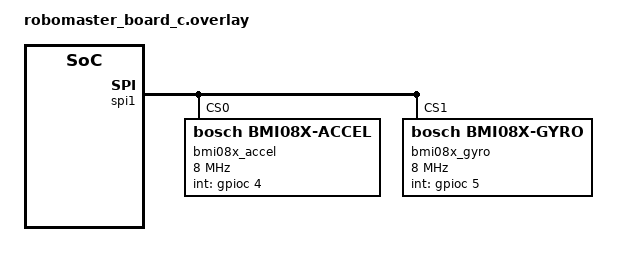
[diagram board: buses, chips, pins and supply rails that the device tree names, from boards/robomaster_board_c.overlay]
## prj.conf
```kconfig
# 启用线程分析器
CONFIG_THREAD_ANALYZER=y
CONFIG_THREAD_ANALYZER_USE_LOG=y
CONFIG_THREAD_ANALYZER_USE_PRINTK=n
CONFIG_THREAD_NAME=y
# CONFIG_THREAD_ANALYZER_AUTO=y
# CONFIG_THREAD_ANALYZER_AUTO_INTERVAL=5
CONFIG_THREAD_ANALYZER_LOG_LEVEL_INF=y
CONFIG_THREAD_ANALYZER_AUTO_SEPARATE_CORES=n

# 启用 Shell 支持
CONFIG_SHELL=n
CONFIG_SHELL_BACKENDS=n
CONFIG_SHELL_BACKEND_SERIAL=n

# 启用 UART 控制台
CONFIG_UART_CONSOLE=y

# 禁用 SEGGER RTT
CONFIG_USE_SEGGER_RTT=n

# 启用事件支持
CONFIG_EVENTS=y

# 启用控制台支持
CONFIG_CONSOLE=y

# 启用日志系统
CONFIG_LOG=y
CONFIG_LOG_MODE_IMMEDIATE=y
CONFIG_LOG_PRINTK=y
CONFIG_LOG_BACKEND_UART=y
CONFIG_LOG_MODE_IMMEDIATE=y

# 启用串行支持
CONFIG_SERIAL=y

# 禁用优化
CONFIG_NO_OPTIMIZATIONS=y

# 启用驱动
CONFIG_MOTOR_DJI=y
CONFIG_MOTOR_LOG_LEVEL=4
CONFIG_CAN=y
CONFIG_MOTOR_INIT_PRIORITY=90

CONFIG_ARES_SBUS=y

# use ASYNC uart API
CONFIG_SERIAL=y
CONFIG_UART_ASYNC_API=y
CONFIG_UART_INTERRUPT_DRIVEN=y

CONFIG_DMA=y
CONFIG_DMA_STM32=y  # STM32 DMA 驱动
CONFIG_UART_STM32=y # STM32 UART 驱动
# CONFIG_STM32_UART_DMA=y

# CONFIG_HAS_STM32CUBE=y
# CONFIG_USE_STM32_HAL_DMA=y
CONFIG_SPI=y
CONFIG_SPI_STM32=y

#
# Device Drivers
#
CONFIG_SENSOR=y
CONFIG_ADXL345_TRIGGER_NONE=y
CONFIG_BMI08X=y
CONFIG_BMI08X_ACCEL_TRIGGER_NONE=y
CONFIG_BMI08X_GYRO_TRIGGER_NONE=y
# CONFIG_BMI08X_GYRO_TRIGGER_GLOBAL_THREAD is not set
# CONFIG_BMI08X_GYRO_TRIGGER_OWN_THREAD is not set
CONFIG_BMI08X_I2C_WRITE_BURST_SIZE=16
```

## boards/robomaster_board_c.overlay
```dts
/ {
	rm_motor {
		motor0: motor0{
			compatible = "dji,motor";
            is_m2006;
			id = <1>;
            rx_id = <0x201>;
            tx_id = <0x200>;
			gear_ratio = <3600>;
			status = "okay";
			can_channel = <&canbus1>;
			controllers = <&angle_pid_1 &speed_pid_1>;
			capabilities = "angle", "speed";
		};

		motor1: motor1{
			compatible = "dji,motor";
            is_m2006;
			id = <2>;
            rx_id = <0x202>;
            tx_id = <0x200>;
			gear_ratio = <3600>;
			status = "okay";
			can_channel = <&canbus1>;
			controllers = <&angle_pid_2 &speed_pid_2>;
			capabilities = "angle", "speed";
		};
	};

	pid {
		angle_pid_1: angle_pid_1 {
			#controller-cells = <0>;
			compatible = "pid,single";
			k_p = <700>;
			k_i = <3>;
			k_d = <800>;
		};
		speed_pid_1: speed_pid_1 {
			#controller-cells = <0>;
			compatible = "pid,single";
			k_p = <180>;
			k_i = <20>;
			k_d = <20>;
		};
		angle_pid_2: angle_pid_2 {
			#controller-cells = <0>;
			compatible = "pid,single";
			k_p = <100>;
			k_i = <100>;
			k_d = <100>;
		};
		speed_pid_2: speed_pid_2 {
			#controller-cells = <0>;
			compatible = "pid,single";
			k_p = <180>;
			k_i = <20>;
			k_d = <20>;
		};
		torque_pid_2: torque_pid_2 {
			#controller-cells = <0>;
			compatible = "pid,mit";
			k_p = <1>;
			k_i = <0>;
			k_d = <0>;
		};
	};
	sbus0: sbus0 {
		compatible = "ares,sbus";
		status = "okay";
	};
};

&spi1 {
    status = "okay";

    bmi08x_accel: bmi08x_accel@0 {
        compatible = "bosch,bmi08x-accel";
		status = "okay";
        reg = <0>;
        spi-max-frequency = <8000000>;
        int-gpios = <&gpioc 4 GPIO_ACTIVE_HIGH>;
        accel-hz = "1600";
        accel-fs = <12>;
		int1-map-io = <0>;
		int2-map-io = <0>;
        int1-conf-io = <0>;
		int2-conf-io = <0>;
		// 其他所需属性...
    };

    bmi08x_gyro: bmi08x_gyro@1{
        compatible = "bosch,bmi08x-gyro";
		status = "okay";
        reg = <1>;
        spi-max-frequency = <8000000>;
        int-gpios = <&gpioc 5 GPIO_ACTIVE_HIGH>;
        gyro-hz = "2000_532";
        gyro-fs = <2000>;
		int3-4-map-io = <0>;
		int3-4-conf-io = <0>;
        // 其他所需属性...
    };
};
```

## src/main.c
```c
/*	
 * Copyright (c) 2024 ttwards <12411711@mail.sustech.edu.cn>
 *
 * SPDX-License-Identifier: Apache-2.0
 */

#include <stddef.h>
#include <stdint.h>
#include <stdio.h>
#include <math.h>
#include <zephyr/device.h>
#include <zephyr/logging/log.h>
#include <zephyr/devicetree.h>
#include <zephyr/drivers/can.h>
#include <zephyr/debug/thread_analyzer.h>
#include <zephyr/kernel.h>
#include <zephyr/sys/printk.h>
#include <zephyr/drivers/uart.h>
#include <zephyr/drivers/motor.h>
#include <zephyr/drivers/sbus.h>
#include <zephyr/drivers/sensor.h>
// #include <zephyr/drivers/adc.h>

LOG_MODULE_REGISTER(main, LOG_LEVEL_DBG);

#define G 9.80665f

#define HIGH_BYTE(x)           ((x) >> 8)
#define LOW_BYTE(x)            ((x) & 0xFF)
#define COMBINE_HL8(HIGH, LOW) ((HIGH << 8) + LOW)

/* Devicetree */
#define CANBUS_NODE    DT_CHOSEN(zephyr_canbus)
#define MOTOR1_NODE    DT_INST(0, dji_motor)
#define MOTOR2_NODE    DT_INST(1, dji_motor)
#define MOTOR3_NODE    DT_INST(2, dji_motor)
#define IMU_ACCEL_NODE DT_NODELABEL(bmi08x_accel)
#define IMU_GYRO_NODE  DT_NODELABEL(bmi08x_gyro)
// #define ADC_NODE       DT_NODELABEL(adc1)

#define SBUS_NODE DT_NODELABEL(sbus0)

#define CPU_NODE DT_NODELABEL(cpu0)

const struct device *cpu_dev = DEVICE_DT_GET(CPU_NODE);
const struct device *can_dev = DEVICE_DT_GET(CANBUS_NODE);
const struct device *motor1  = DEVICE_DT_GET(MOTOR1_NODE);
const struct device *motor2  = DEVICE_DT_GET(MOTOR2_NODE);
// const struct device *motor3  = DEVICE_DT_GET(MOTOR3_NODE);
const struct device *sbus  = DEVICE_DT_GET(SBUS_NODE);
const struct device *accel = DEVICE_DT_GET(IMU_ACCEL_NODE);
const struct device *gyro  = DEVICE_DT_GET(IMU_GYRO_NODE);
// const struct device *adc   = DEVICE_DT_GET(ADC_NODE);

k_tid_t feedback_tid = 0;

float motor1_rpm = 0;
float motor2_rpm = 0;
// float motor3_rpm = 0;

/* CAN Feedback to console*/
K_THREAD_STACK_DEFINE(feedback_stack_area, 4096); // 定义线程栈
void console_feedback(void *arg1, void *arg2, void *arg3) {
    // int err = adc_channel_setup_dt(&adc);
    // if (err < 0) {
    //     printk("Could not setup channel (%d)\n", err);
    // }
    while (1) {
        LOG_INF("rpm: motor1: %.2f %.2f\n", (double)motor1_rpm, (double)motor_get_speed(motor1));
        LOG_INF("rpm: motor2: %.2f %.2f\n", (double)motor2_rpm, (double)motor_get_speed(motor2));
        // LOG_INF("rpm: motor3: %.2f %.2f\n", (double)motor3_rpm, (double)motor_get_speed(motor3));
        struct sensor_value accel_data[3];
        struct sensor_value gyro_data[3];
        struct sensor_value temp_data;
        sensor_sample_fetch(accel);
        sensor_sample_fetch(gyro);
        sensor_channel_get(accel, SENSOR_CHAN_ACCEL_XYZ, accel_data);
        sensor_channel_get(gyro, SENSOR_CHAN_GYRO_XYZ, gyro_data);
        sensor_channel_get(accel, SENSOR_CHAN_DIE_TEMP, &temp_data);
        float accel_x  = ((float)accel_data[0].val1 + (float)accel_data[0].val2 / 1000000.0f);
        float accel_y  = ((float)accel_data[1].val1 + (float)accel_data[1].val2 / 1000000.0f);
        float accel_z  = ((float)accel_data[2].val1 + (float)accel_data[2].val2 / 1000000.0f);
        float accel_c  = sqrtf(powf(accel_x, 2) + powf(accel_y, 2) + powf(accel_z, 2));
        float gyro_x   = (float)gyro_data[0].val1 + (float)gyro_data[0].val2 / 1000000.0f;
        float gyro_y   = (float)gyro_data[1].val1 + (float)gyro_data[1].val2 / 1000000.0f;
        float gyro_z   = (float)gyro_data[2].val1 + (float)gyro_data[2].val2 / 1000000.0f;
        float gryo_c   = sqrtf(powf(gyro_x, 2) + powf(gyro_y, 2) + powf(gyro_z, 2));
        float temp_raw = ((float)temp_data.val1 + (float)temp_data.val2 / 1000000.0f);
        LOG_INF("accel: x %.3f y %.3f z %.3f\n", (double)accel_x, (double)accel_y,
                (double)accel_z);
        LOG_INF("gyro: x %.3f y %.3f z %.3f\n", (double)gyro_x, (double)gyro_y, (double)gyro_z);
        LOG_INF("IMU Temp: %.3f\n", (double)temp_raw);
        // LOG_INF("TEMP MSB: %d LSB: %d\n", temp_data.val1, temp_data.val2);
        LOG_INF("Accel %.2f m/s^2\n", (double)accel_c);
        LOG_INF("Gyro %.2f\n", (double)gryo_c);
        k_msleep(200);
    }
}
// 1 |
// 2 /
// 3 -
// 1  2  3
//       -
//
// |     /
/*
v_3 = (1/sqrt(2)) * (v_x - v_Y)
*/
// static void chassis_calc(float vert_x, float vert_y) {
//     float vert_x_rpm = vert_x * 120;
//     float vert_y_rpm = vert_y * 120;
//     motor1_rpm       = vert_x_rpm;
//     motor3_rpm       = vert_y_rpm;
//     motor2_rpm       = (-vert_x_rpm - vert_y_rpm) * 0.707f;
//     motor_set_speed(motor1, motor1_rpm);
//     motor_set_speed(motor2, motor2_rpm);
//     motor_set_speed(motor3, motor3_rpm);
// }

int sbus_get_bool(const struct device *sbus, int channel) {
    sbus_get_digit(sbus, channel);
    return (int)sbus_get_percent(sbus, channel);
}

int main(void) {

    motor_control(motor1, SET_ZERO_OFFSET);
    motor_control(motor2, SET_ZERO_OFFSET);

    motor_set_angle(motor1, 0);
    motor_set_angle(motor2, 0);

    /* Start Feedback thread*/
    struct k_thread feedback_thread_data;
    feedback_tid = k_thread_create(&feedback_thread_data,
                                   feedback_stack_area, // 修改为 can_send_stack_area
                                   K_THREAD_STACK_SIZEOF(feedback_stack_area), console_feedback,
                                   (void *)motor1, NULL, NULL, 0, 0, K_MSEC(300));
    while (1) {
        // chassis_calc(sbus_get_percent(sbus, 1), sbus_get_percent(sbus, 3));
        motor_set_speed(motor1, 150);
        motor_set_speed(motor2, -150);
        k_msleep(500);
        for (int i = 1000; i > 0; i--) {
            motor_set_speed(motor1, 150.0f * sqrtf(i / 1000.0f));
            motor_set_speed(motor2, -150.0f * sqrtf(i / 1000.0f));
            k_msleep(1);
        }
        k_msleep(650);
        motor_set_torque(motor1, -10);
        motor_set_torque(motor2, +10);
        k_msleep(200);
    }
}
```
